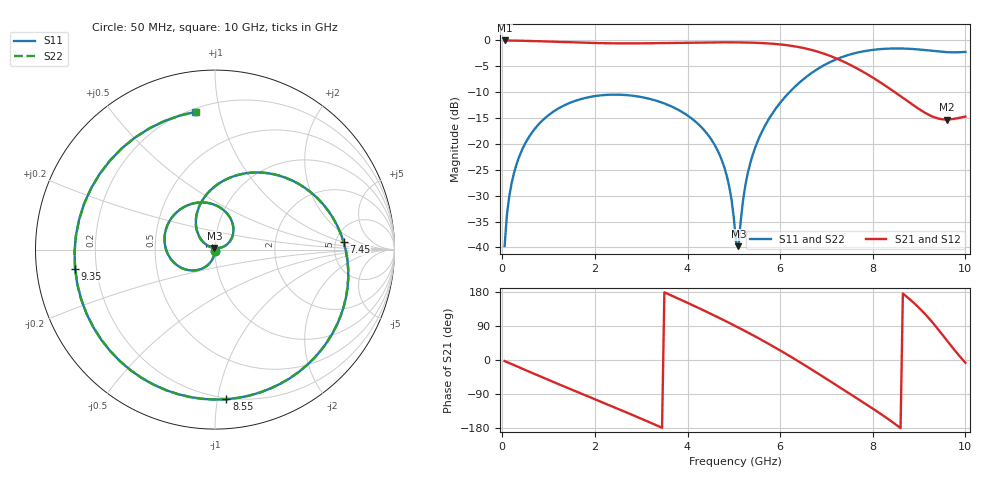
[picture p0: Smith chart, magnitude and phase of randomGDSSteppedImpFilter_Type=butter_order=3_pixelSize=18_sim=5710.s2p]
! freq	dB(S11)	phase(S11)	dB(S12)	phase(S12)
!  dB(S21)	phase(S21)	dB(S22)	phase(S22)
!S-par simulation data
#  GHz  S  DB  R 50
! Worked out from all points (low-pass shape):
!   200 points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, 50 MHz to 10 GHz, reference 50 ohm
!   highest |S21| = -0.01 dB at 50 MHz (marker M1); lowest = -15.3 dB at 9.6 GHz (marker M2)
!   |S21| within 3 dB of the highest: start of sweep to 7.083 GHz
!   lowest |S11| = -39.8 dB at 5.1 GHz (marker M3), VSWR 1.02, Z = 49.6 + j0.956 ohm
!   |S11| at or under -10 dB: start of sweep to 6.201 GHz
!   |S22| runs from -40.5 to -1.6 dB; largest |S21 - S12| = 0
!   S11 on the Smith chart (normalised r, x): 50 MHz: 1.00, -0.02; 7.45 GHz: 5.91, +1.03; 8.55 GHz: 0.19, -1.06; 9.35 GHz: 0.12, -0.07; 10 GHz: 0.22, +0.84
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0.05  -39.73 -92.6  -0.01 -2.7  -0.01 -2.7  -39.72 -92.5
0.2  -27.66 -101.1  -0.03 -10.7  -0.03 -10.7  -27.65 -101.1
0.5  -19.83 -117.0  -0.08 -26.5  -0.08 -26.5  -19.83 -117.0
1.75  -11.21 178.3  -0.45 -91.0  -0.45 -91.0  -11.21 178.3
2.5  -10.48 140.3  -0.57 -129.0  -0.57 -129.0  -10.48 140.3
3.4  -11.87 93.6  -0.53 -176.1  -0.53 -176.1  -11.87 93.6
4.6  -20.43 29.3  -0.37 116.1  -0.37 116.1  -20.43 28.9
4.9  -28.23 19.1  -0.37 97.9  -0.37 97.9  -28.26 17.9
5.05  -39.21 51.8  -0.38 88.6  -0.38 88.6  -39.78 48.8
5.1  -39.77 110.3  -0.38 85.5  -0.38 85.5  -40.47 112.5
5.25  -27.93 150.9  -0.40 75.9  -0.40 75.9  -27.98 152.3
5.5  -19.80 142.6  -0.47 59.6  -0.47 59.6  -19.81 143.2
6.15  -10.49 101.1  -0.93 14.5  -0.93 14.5  -10.49 101.3
6.7  -6.16 60.9  -1.89 -26.6  -1.89 -26.6  -6.17 61.0
7.45  -2.88 3.4  -4.44 -84.9  -4.44 -84.9  -2.88 3.3
7.9  -1.96 -31.7  -6.64 -120.3  -6.64 -120.3  -1.96 -31.8
8.35  -1.58 -68.2  -9.22 -157.3  -9.22 -157.3  -1.59 -68.4
8.55  -1.55 -85.6  -10.46 -175.2  -10.46 -175.2  -1.56 -85.8
8.95  -1.72 -124.7  -12.97 143.5  -12.97 143.5  -1.72 -125.0
9.35  -2.08 -172.1  -14.92 90.2  -14.92 90.2  -2.09 -172.4
9.6  -2.27 153.9  -15.29 51.6  -15.29 51.6  -2.27 153.6
10  -2.22 98.1  -14.71 -7.2  -14.71 -7.2  -2.21 97.8
